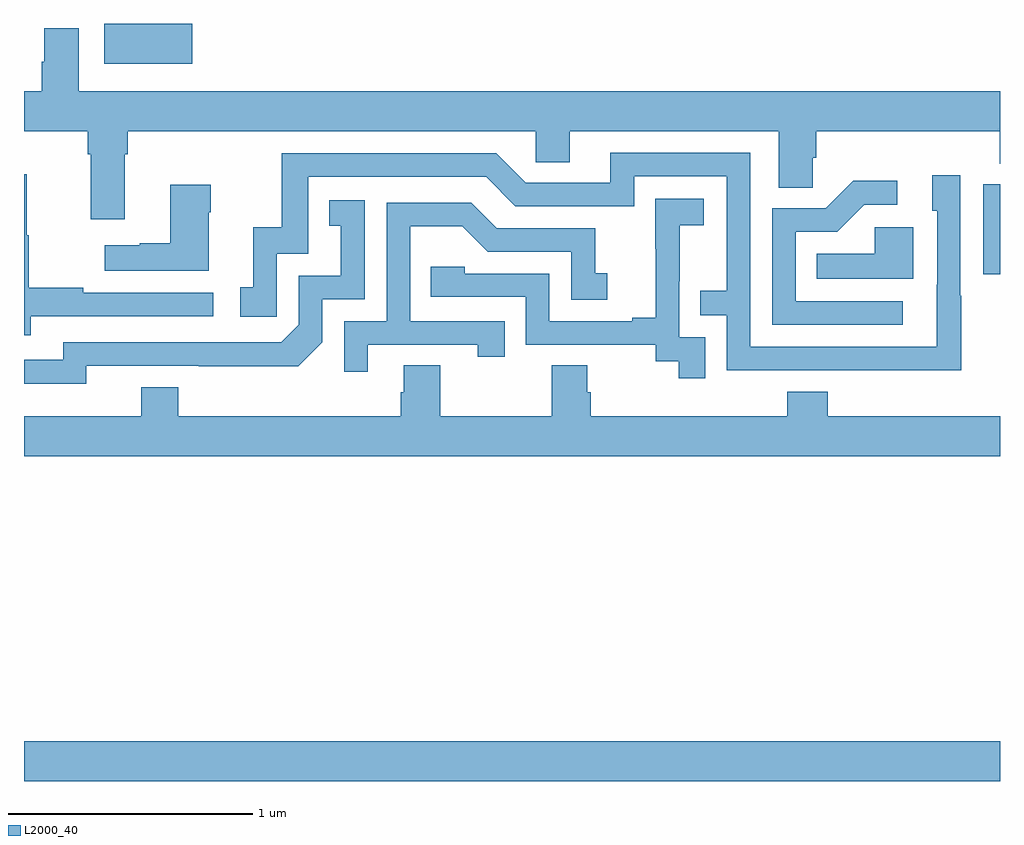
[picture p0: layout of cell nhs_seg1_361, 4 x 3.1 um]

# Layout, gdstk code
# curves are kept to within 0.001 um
import gdstk
lib = gdstk.Library(unit=1e-6, precision=1e-09)
def R(c, l, rs):  # rectangles x0, y0, x1, y1
    for r in rs: c.add(gdstk.rectangle(r[:2], r[2:], *l))
def P(c, l, *ps):  # polygons
    for p in ps: c.add(gdstk.Polygon(p, *l))
L2000_40 = (2000, 40)

nhs_seg1_361 = lib.new_cell('nhs_seg1_361')
R(nhs_seg1_361, L2000_40, [(131,521.096,135,521.26), (134.931,523.173,135,523.542), (131.328,524.036,131.689,524.199)])
P(nhs_seg1_361, L2000_40, [(131.413,523.664),(131.426,523.664),(131.426,523.76),(133.098,523.76),(133.098,523.633),(133.237,523.633),(133.237,523.76),(134.093,523.76),(134.093,523.528),(134.232,523.528),(134.232,523.651),(134.246,523.651),(134.246,523.76),(134.999,523.76),(134.999,523.627),(135,523.627),(135,523.924),(131.224,523.924),(131.224,524.182),(131.084,524.182),(131.084,524.045),(131.072,524.045),(131.072,523.924),(131,523.924),(131,523.76),(131.261,523.76),(131.261,523.664),(131.273,523.664),(131.273,523.398),(131.413,523.398)],
  [(134.841,523.085),(134.838,523.085),(134.838,523.579),(134.723,523.579),(134.723,523.434),(134.742,523.434),(134.741,522.876),(133.977,522.876),(133.977,523.671),(133.403,523.671),(133.403,523.548),(133.056,523.548),(132.936,523.668),(132.057,523.668),(132.057,523.366),(131.939,523.366),(131.939,523.119),(131.886,523.119),(131.886,522.999),(132.036,522.999),(132.036,523.257),(132.165,523.257),(132.165,523.572),(132.894,523.572),(133.014,523.452),(133.5,523.452),(133.5,523.575),(133.881,523.575),(133.881,523.106),(133.771,523.106),(133.771,523.005),(133.881,523.005),(133.881,522.78),(134.841,522.779)],
  [(131.027,523.002),(131.776,523.002),(131.776,523.098),(131.243,523.098),(131.243,523.118),(131.02,523.118),(131.02,523.332),(131.012,523.332),(131.012,523.582),(131,523.582),(131,522.924),(131.027,522.924)],
  [(134.602,523.062),(134.163,523.062),(134.163,523.347),(134.332,523.347),(134.443,523.458),(134.578,523.458),(134.578,523.556),(134.399,523.556),(134.286,523.443),(134.067,523.443),(134.067,522.966),(134.602,522.966)],
  [(131.758,523.427),(131.766,523.427),(131.766,523.54),(131.6,523.54),(131.6,523.301),(131.474,523.301),(131.474,523.291),(131.331,523.291),(131.331,523.187),(131.758,523.187)],
  [(133.791,522.915),(133.686,522.915),(133.686,523.145),(133.688,523.145),(133.688,523.373),(133.786,523.373),(133.786,523.483),(133.588,523.483),(133.588,523.277),(133.589,523.277),(133.589,522.994),(133.493,522.994),(133.493,522.981),(133.152,522.981),(133.152,523.176),(132.807,523.176),(132.807,523.203),(132.667,523.203),(132.667,523.08),(133.056,523.08),(133.056,522.885),(133.59,522.885),(133.59,522.817),(133.683,522.817),(133.683,522.746),(133.791,522.746)],
  [(131.256,522.798),(132.124,522.797),(132.222,522.894),(132.222,523.071),(132.396,523.071),(132.396,523.477),(132.25,523.477),(132.25,523.371),(132.299,523.371),(132.299,523.167),(132.126,523.167),(132.126,522.966),(132.054,522.894),(131.16,522.894),(131.16,522.822),(131,522.822),(131,522.725),(131.256,522.725)],
  [(132.409,522.885),(132.86,522.885),(132.86,522.834),(132.971,522.834),(132.971,522.981),(132.582,522.981),(132.582,523.37),(132.796,523.37),(132.9,523.266),(133.242,523.266),(133.242,523.068),(133.39,523.068),(133.39,523.177),(133.341,523.177),(133.341,523.362),(132.937,523.362),(132.832,523.467),(132.486,523.467),(132.486,522.981),(132.312,522.981),(132.312,522.774),(132.409,522.774)],
  [(134.644,523.366),(134.487,523.366),(134.487,523.258),(134.248,523.258),(134.248,523.154),(134.644,523.154)],
  [(135,522.592),(134.294,522.592),(134.294,522.691),(134.129,522.691),(134.129,522.592),(133.322,522.592),(133.322,522.69),(133.309,522.69),(133.309,522.8),(133.162,522.8),(133.162,522.592),(132.705,522.592),(132.705,522.8),(132.557,522.8),(132.557,522.69),(132.545,522.69),(132.545,522.592),(131.633,522.592),(131.633,522.709),(131.48,522.709),(131.48,522.592),(131,522.592),(131,522.428),(135,522.428)])

lib.write_gds('nhs_seg1_361.gds')
